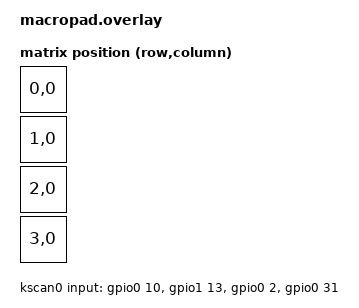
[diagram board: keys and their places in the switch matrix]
#include <dt-bindings/zmk/matrix_transform.h>

/ {
    chosen {
        zmk,kscan = &kscan0;
        zmk,matrix_transform = &default_transform;
    };

    default_transform: keymap_transform_0 {
        compatible = "zmk,matrix-transform";
        columns = <1>;
        rows = <4>;
        map = 
            RC(0,0)
            RC(1,0)
            RC(2,0)
            RC(3,0)
        >;
    };

    kscan0: kscan {
        compatible = "zmk,kscan-gpio-direct";
        label = "KSCAN";
        input-gpios
    = <&gpio0 10 (GPIO_ACTIVE_LOW | GPIO_PULL_UP)>
    , <&gpio1 13 (GPIO_ACTIVE_LOW | GPIO_PULL_UP)>
    , <&gpio0 2 (GPIO_ACTIVE_LOW | GPIO_PULL_UP)>
    , <&gpio0 31 (GPIO_ACTIVE_LOW | GPIO_PULL_UP)>
    ;
    };
};
